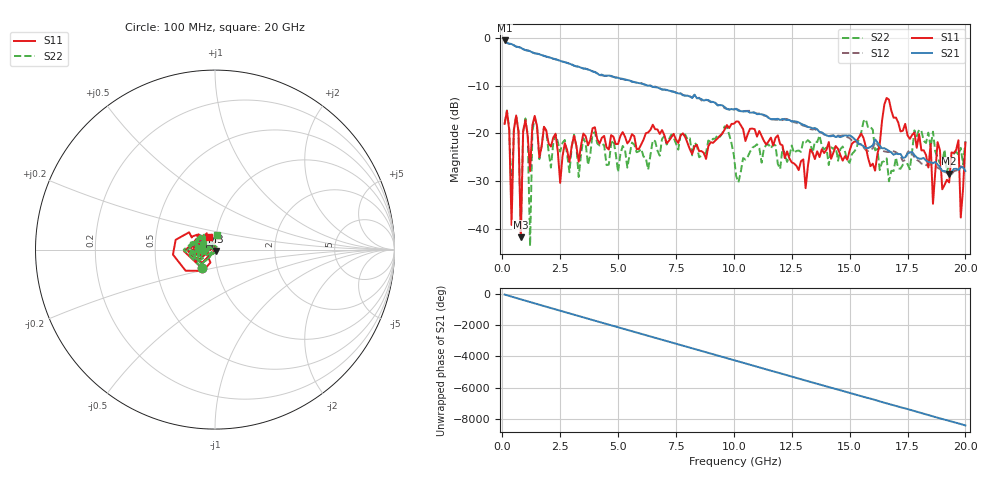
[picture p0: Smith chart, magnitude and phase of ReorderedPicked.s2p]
! File created by SignalIntegrity v1.4.2: Signal and Power Integrity Tools
! https://github.com/Nubis-Communications/SignalIntegrity
# MHz S MA R 50.0
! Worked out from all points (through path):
!   200 points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, 100 MHz to 20 GHz, reference 50 ohm
!   highest |S21| = -0.47 dB at 100 MHz (marker M1); lowest = -28.5 dB at 19.3 GHz (marker M2)
!   lowest |S11| = -41.9 dB at 800 MHz (marker M3), VSWR 1.02, Z = 50.3 - j0.747 ohm
!   |S11| at or under -10 dB: start of sweep to end of sweep
!   |S22| runs from -43.7 to -15.2 dB; largest |S21 - S12| = 0.0086
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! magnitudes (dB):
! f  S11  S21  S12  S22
! 100 MHz  -18.0  -0.5  -0.5  -18.0
! 300 MHz  -19.3  -1.1  -1.2  -19.1
! 400 MHz  -39.2  -1.2  -1.2  -33.6
! 600 MHz  -16.2  -1.8  -1.8  -16.3
! 800 MHz  -41.9  -2.0  -2.0  -40.8
! 1 GHz  -17.2  -2.5  -2.5  -16.9
! 1.1 GHz  -20.6  -2.6  -2.6  -20.3
! 1.2 GHz  -27.9  -2.7  -2.7  -43.7
! 1.3 GHz  -18.3  -3.0  -3.0  -19.5
! 1.4 GHz  -16.3  -3.2  -3.2  -16.8
! 2.5 GHz  -30.4  -4.7  -4.8  -23.8
! 3.5 GHz  -20.0  -6.4  -6.3  -21.0
! 6.8 GHz  -20.1  -10.6  -10.6  -24.7
! 9.7 GHz  -18.3  -14.9  -14.8  -18.6
! 10.1 GHz  -17.5  -14.8  -14.9  -29.0
! 13.4 GHz  -24.0  -19.0  -19.2  -24.2
! 16.1 GHz  -27.8  -21.3  -21.8  -23.6
! 16.7 GHz  -12.9  -23.7  -23.9  -30.1
! 19.3 GHz  -30.3  -28.5  -28.9  -26.2
! 19.7 GHz  -21.4  -27.7  -27.7  -24.5
! 19.8 GHz  -37.7  -27.1  -26.9  -23.0
! 20 GHz  -21.9  -27.9  -27.8  -21.7
